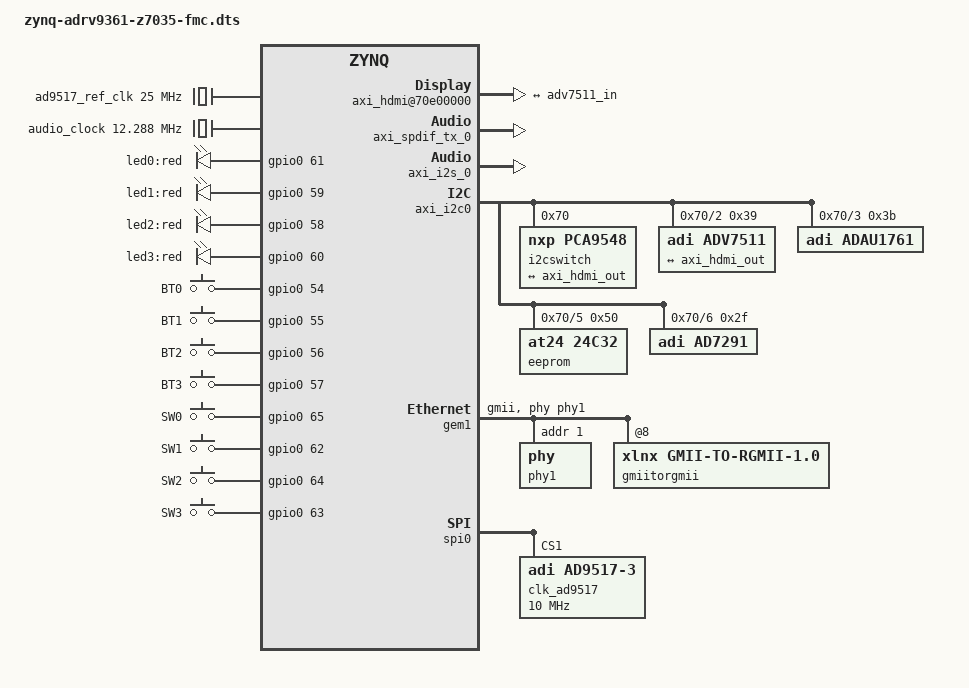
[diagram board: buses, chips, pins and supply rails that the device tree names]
// SPDX-License-Identifier: GPL-2.0
/*
 * AD9361-Z0735 System on Module (SOM) SDR - FMC Carrier
 * Link: https://www.analog.com/ADRV9361-Z7035
 * Link: https://wiki.analog.com/resources/eval/user-guides/adrv936x_rfsom
 *
 * hdl_project: <adrv9361z7035/ccfmc_lvds>
 * board_revision: <>
 *
 * Copyright 2015-2019 Analog Devices Inc.
 */
/dts-v1/;
#include "zynq-adrv9361-z7035.dtsi"

#include <dt-bindings/input/input.h>

/ {
	clocks {
		ad9517_ref_clk: clock@3 {
				#clock-cells = <0>;
				compatible = "fixed-clock";
				clock-frequency = <25000000>;
				clock-output-names = "ad9517_refclk";
		};

		audio_clock: audio_clock {
			compatible = "fixed-clock";
			#clock-cells = <0>;
			clock-frequency = <12288000>;
		};
	};
};

&axi_i2c0 {

	i2cswitch@74 {
		compatible = "nxp,pca9548";
		#address-cells = <1>;
		#size-cells = <0>;
		reg = <0x70>;

		i2c@0 {
			#address-cells = <1>;
			#size-cells = <0>;
			reg = <0>;
		};

		i2c@1 {
			#address-cells = <1>;
			#size-cells = <0>;
			reg = <1>;
		};

		i2c@2 {
			#address-cells = <1>;
			#size-cells = <0>;
			reg = <2>;

			adv7511: adv7511@39 {
				compatible = "adi,adv7511";
				reg = <0x39>, <0x3f>;
				reg-names = "primary", "edid";

				adi,input-depth = <8>;
				adi,input-colorspace = "yuv422";
				adi,input-clock = "1x";
				adi,input-style = <1>;
				adi,input-justification = "left";
				adi,clock-delay = <0>;

				#sound-dai-cells = <0>;

				ports {
					#address-cells = <1>;
					#size-cells = <0>;

					port@0 {
						reg = <0>;
						adv7511_in: endpoint {
							remote-endpoint = <&axi_hdmi_out>;
						};
					};

					port@1 {
						reg = <1>;
					};
				};
			};
		};

		i2c@3 {
			#address-cells = <1>;
			#size-cells = <0>;
			reg = <3>;

			adau1761: adau1761@3b {
				compatible = "adi,adau1761";
				reg = <0x3b>;

				clocks = <&audio_clock>;
				clock-names = "mclk";

				#sound-dai-cells = <0>;
			};
		};

		i2c@4 {
			#address-cells = <1>;
			#size-cells = <0>;
			reg = <4>;
		};

		i2c@5 {
			#address-cells = <1>;
			#size-cells = <0>;
			reg = <5>;
			eeprom@50 {
				compatible = "at24,24c32";
				reg = <0x50>;
			};
		};

		i2c@6 {
			#address-cells = <1>;
			#size-cells = <0>;
			reg = <6>;

			ad7291@2f {
				compatible = "adi,ad7291";
				reg = <0x2f>;
			};
		};

		i2c@7 {
			#address-cells = <1>;
			#size-cells = <0>;
			reg = <7>;
		};
	};
};

&aliases {
	ethernet1 = &gem1;
};

&gem1 {
	status = "okay";

	phy-handle = <&phy1>;
	phy-mode = "gmii";

	phy1: phy@1 {
		device_type = "ethernet-phy";
		reg = <0x1>;
		marvell,reg-init = <3 16 0xff00 0x1e 3 17 0xfff0 0x00>;
	};

	gmiitorgmii: gmiitorgmii@8 {
		compatible = "xlnx,gmii-to-rgmii-1.0";
		reg = <0x8>;
		phy-handle = <&phy1>;
	};

};

/ {
	fpga_axi: fpga-axi@0 {
		compatible = "simple-bus";
		#address-cells = <0x1>;
		#size-cells = <0x1>;
		ranges;

		hdmi_dma: dma@43000000 {
			compatible = "adi,axi-dmac-1.00.a";
			reg = <0x43000000 0x10000>;
			#dma-cells = <1>;
			interrupts = <0 59 IRQ_TYPE_LEVEL_HIGH>;
			clocks = <&clkc 16>;

			adi,channels {
				#size-cells = <0>;
				#address-cells = <1>;

				dma-channel@0 {
					reg = <0>;
					adi,source-bus-width = <64>;
					adi,source-bus-type = <0>;
					adi,destination-bus-width = <64>;
					adi,destination-bus-type = <1>;
				};
			};
		};

		hdmi_clock: axi-clkgen@79000000 {
			compatible = "adi,axi-clkgen-2.00.a";
			reg = <0x79000000 0x10000>;
			#clock-cells = <0>;
			clocks = <&clkc 15>, <&clkc 16>;
			clock-names = "s_axi_aclk", "clkin1";
		};

		axi_hdmi@70e00000 {
			compatible = "adi,axi-hdmi-tx-1.00.a";
			reg = <0x70e00000 0x10000>;
			dmas = <&hdmi_dma 0>;
			dma-names = "video";
			clocks = <&hdmi_clock>;

			port {
				axi_hdmi_out: endpoint {
					remote-endpoint = <&adv7511_in>;
				};
			};
		};

		axi_spdif_tx_0: axi-spdif-tx@75c00000 {
			compatible = "adi,axi-spdif-tx-1.00.a";
			reg = <0x75c00000 0x1000>;
			dmas = <&dmac_s 0>;
			dma-names = "tx";
			clocks = <&clkc 15>, <&audio_clock>;
			clock-names = "axi", "ref";

			#sound-dai-cells = <0>;
		};

		axi_i2s_0: axi-i2s@77600000 {
			compatible = "adi,axi-i2s-1.00.a";
			reg = <0x77600000 0x1000>;
			dmas = <&dmac_s 1 &dmac_s 2>;
			dma-names = "tx", "rx";
			clocks = <&clkc 15>, <&audio_clock>;
			clock-names = "axi", "ref";

			#sound-dai-cells = <0>;
		};
	};

	adv7511_hdmi_snd {
		compatible = "simple-audio-card";
		simple-audio-card,name = "HDMI monitor";
		simple-audio-card,widgets =
			"Speaker", "Speaker";
		simple-audio-card,routing =
			"Speaker", "TX";

		simple-audio-card,dai-link@0 {
			format = "spdif";
			cpu {
				sound-dai = <&axi_spdif_tx_0>;
				frame-master;
				bitclock-master;
			};
			codec {
				sound-dai = <&adv7511>;
			};
		};
	};

	zed_sound {
		compatible = "simple-audio-card";
		simple-audio-card,name = "ZED ADAU1761";
		simple-audio-card,widgets =
			"Microphone", "Mic In",
			"Headphone", "Headphone Out",
			"Line", "Line In",
			"Line", "Line Out";
		simple-audio-card,routing =
			"Line Out", "LOUT",
			"Line Out", "ROUT",
			"Headphone Out", "LHP",
			"Headphone Out", "RHP",
			"Mic In", "MICBIAS",
			"LINN", "Mic In",
			"RINN", "Mic In",
			"LAUX", "Line In",
			"RAUX", "Line In";

		simple-audio-card,dai-link@0 {
			format = "i2s";
			cpu {
				sound-dai = <&axi_i2s_0>;
				frame-master;
				bitclock-master;
			};
			codec {
				sound-dai = <&adau1761>;
			};
		};
	};

	leds {
		compatible = "gpio-leds";
		led0 {
			label = "led0:red";
			gpios = <&gpio0 61 0>;
		};

		led1 {
			label = "led1:red";
			gpios = <&gpio0 59 0>;
		};

		led2 {
			label = "led2:red";
			gpios = <&gpio0 58 0>;
		};

		led3 {
			label = "led3:red";
			gpios = <&gpio0 60 0>;
		};
	};

	gpio_keys {
		compatible = "gpio-keys";
		#address-cells = <1>;
		#size-cells = <0>;
		autorepeat;

		bt0 {
			label = "BT0";
			linux,code = <KEY_LEFT>;
			gpios = <&gpio0 54 0>;
		};

		bt1 {
			label = "BT1";
			linux,code = <KEY_RIGHT>;
			gpios = <&gpio0 55 0>;
		};

		bt2 {
			label = "BT2";
			linux,code = <KEY_ENTER>;
			gpios = <&gpio0 56 0>;
		};

		bt3 {
			label = "BT3";
			linux,code = <KEY_ESC>;
			gpios = <&gpio0 57 0>;
		};

		sw0 {
			label = "SW0";
			linux,input-type = <5>;
			linux,code = <0>;
			gpios = <&gpio0 65 0>;
		};

		sw1 {
			label = "SW1";
			linux,input-type = <5>;
			linux,code = <1>;
			gpios = <&gpio0 62 0>;
		};

		sw2 {
			label = "SW2";
			linux,input-type = <5>;
			linux,code = <2>;
			gpios = <&gpio0 64 0>;
		};

		sw3 {
			label = "SW3";
			linux,input-type = <5>;
			linux,code = <3>;
			gpios = <&gpio0 63 0>;
		};
	};

};

&spi0 {
	clk_ad9517: ad9517@1 {
		#address-cells = <1>;
		#size-cells = <0>;
		#clock-cells = <1>;
		compatible = "adi,ad9517-3";
		reg = <1>;
		spi-max-frequency = <10000000>;
		clocks = <&ad9517_ref_clk>, <&ad9517_ref_clk>;
		clock-names = "refclk", "clkin";
		clock-output-names = "out0", "out1", "out2", "out3", "out4", "out5", "out6", "out7";
		firmware = "pzsdr-fmc-ad9517.stp";
	};
};
